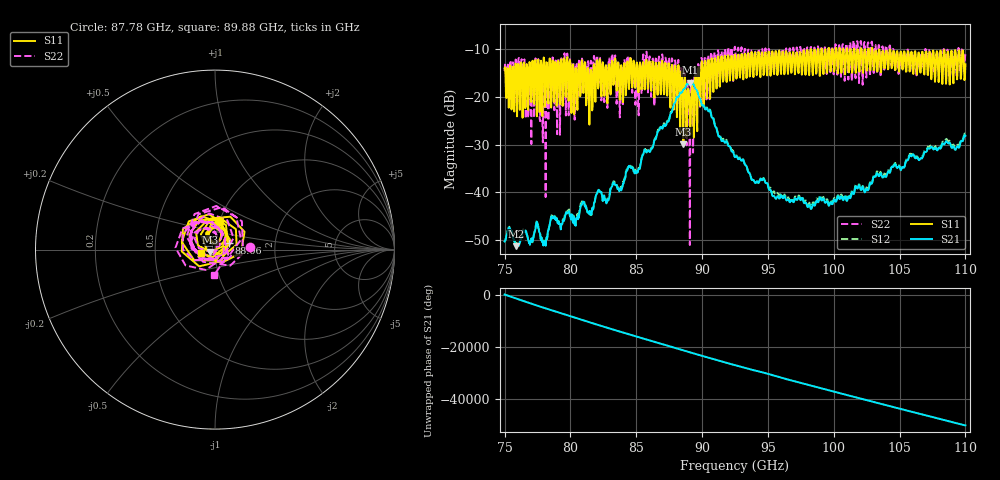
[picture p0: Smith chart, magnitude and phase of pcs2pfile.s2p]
#  HZ  S  RI  R  50.00
! Rohde & Schwarz Vector Network Analyzer
! Rohde-Schwarz,ZNA50-4Port,1332450054101417,2.92
! Created: UTC 11/7/2024, 7:53:19 AM
! freq[Hz]  re:S11  im:S11  re:S21  im:S21  re:S12  im:S12  re:S22  im:S22
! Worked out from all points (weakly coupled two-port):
!   1001 points, 75 GHz to 110 GHz, reference 50 ohm
!   highest |S21| = -17.07 dB at 89.11 GHz (marker M1); lowest = -51.2 dB at 75.88 GHz (marker M2)
!   lowest |S11| = -29.9 dB at 88.58 GHz (marker M3), VSWR 1.07, Z = 47.2 - j1.24 ohm
!   |S11| at or under -10 dB: start of sweep to 98.8 GHz; 101.5 GHz to 102.1 GHz (520.7 MHz wide, 0.511 % of centre); 102.9 GHz to end of sweep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
!   |S22| runs from -51.0 to -8.2 dB; largest |S21 - S12| = 0.23
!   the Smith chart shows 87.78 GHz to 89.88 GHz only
!   S11 on the Smith chart (normalised r, x): 87.78 GHz: 0.99, +0.33; 88.06 GHz: 1.16, +0.09; 89.88 GHz: 0.86, -0.03
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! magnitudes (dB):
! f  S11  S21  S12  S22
! 75 GHz  -14.1  -50.3  -50.3  -14.6
! 75.88 GHz  -14.3  -51.2  -50.9  -12.6
! 76.92 GHz  -13.0  -51.0  -50.8  -13.6
! 77.45 GHz  -24.1  -46.1  -45.9  -22.7
! 78.01 GHz  -12.5  -50.9  -50.8  -14.6
! 78.53 GHz  -22.3  -45.2  -45.0  -21.3
! 80.84 GHz  -12.9  -42.6  -42.1  -13.2
! 83.78 GHz  -17.4  -39.5  -39.2  -18.6
! 84.45 GHz  -18.4  -34.4  -34.2  -16.7
! 86.69 GHz  -13.9  -27.1  -26.8  -12.5
! 87.78 GHz  -15.8  -22.5  -22.3  -14.2
! 88.06 GHz  -21.4  -20.2  -20.0  -21.3
! 88.58 GHz  -29.9  -18.4  -18.3  -23.0
! 88.93 GHz  -18.3  -17.4  -17.3  -17.0
! 89.11 GHz  -28.0  -17.1  -16.9  -24.6
! 89.49 GHz  -15.4  -18.3  -18.1  -14.3
! 89.88 GHz  -22.0  -20.6  -20.3  -16.9
! 92.5 GHz  -11.2  -32.6  -32.3  -9.5
! 95.47 GHz  -15.3  -40.8  -39.8  -14.6
! 98.34 GHz  -12.4  -43.1  -42.6  -11.6
! 104.2 GHz  -12.3  -35.8  -35.5  -10.6
! 110 GHz  -13.2  -28.1  -27.8  -10.7
